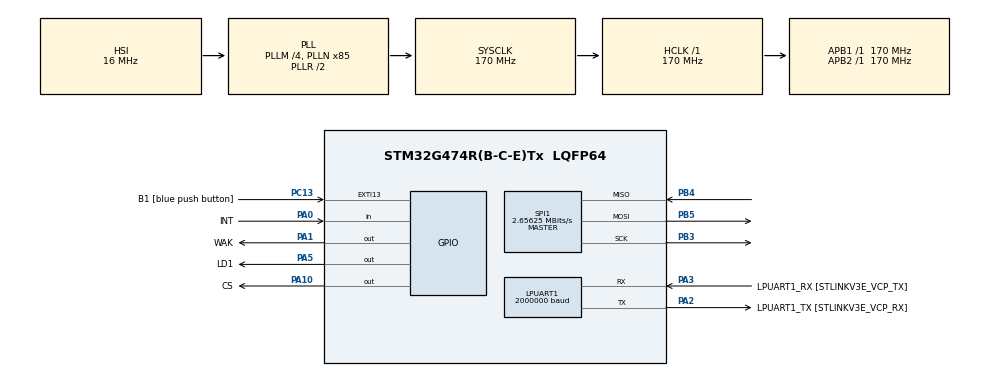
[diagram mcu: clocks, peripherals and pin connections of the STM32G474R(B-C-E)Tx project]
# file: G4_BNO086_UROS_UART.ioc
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Dma.LPUART1_RX.0.Direction=DMA_PERIPH_TO_MEMORY
Dma.LPUART1_RX.0.EventEnable=DISABLE
Dma.LPUART1_RX.0.Instance=DMA1_Channel1
Dma.LPUART1_RX.0.MemDataAlignment=DMA_MDATAALIGN_BYTE
Dma.LPUART1_RX.0.MemInc=DMA_MINC_ENABLE
Dma.LPUART1_RX.0.Mode=DMA_CIRCULAR
Dma.LPUART1_RX.0.PeriphDataAlignment=DMA_PDATAALIGN_BYTE
Dma.LPUART1_RX.0.PeriphInc=DMA_PINC_DISABLE
Dma.LPUART1_RX.0.Polarity=HAL_DMAMUX_REQ_GEN_RISING
Dma.LPUART1_RX.0.Priority=DMA_PRIORITY_VERY_HIGH
Dma.LPUART1_RX.0.RequestNumber=1
Dma.LPUART1_RX.0.SignalID=NONE
Dma.LPUART1_RX.0.SyncEnable=DISABLE
Dma.LPUART1_RX.0.SyncPolarity=HAL_DMAMUX_SYNC_NO_EVENT
Dma.LPUART1_RX.0.SyncRequestNumber=1
Dma.LPUART1_RX.0.SyncSignalID=NONE
Dma.LPUART1_TX.1.Direction=DMA_MEMORY_TO_PERIPH
Dma.LPUART1_TX.1.EventEnable=DISABLE
Dma.LPUART1_TX.1.Instance=DMA1_Channel2
Dma.LPUART1_TX.1.MemDataAlignment=DMA_MDATAALIGN_BYTE
Dma.LPUART1_TX.1.MemInc=DMA_MINC_ENABLE
Dma.LPUART1_TX.1.Mode=DMA_NORMAL
Dma.LPUART1_TX.1.PeriphDataAlignment=DMA_PDATAALIGN_BYTE
Dma.LPUART1_TX.1.PeriphInc=DMA_PINC_DISABLE
Dma.LPUART1_TX.1.Polarity=HAL_DMAMUX_REQ_GEN_RISING
Dma.LPUART1_TX.1.Priority=DMA_PRIORITY_VERY_HIGH
Dma.LPUART1_TX.1.RequestNumber=1
Dma.LPUART1_TX.1.SignalID=NONE
Dma.LPUART1_TX.1.SyncEnable=DISABLE
Dma.LPUART1_TX.1.SyncPolarity=HAL_DMAMUX_SYNC_NO_EVENT
Dma.LPUART1_TX.1.SyncRequestNumber=1
Dma.LPUART1_TX.1.SyncSignalID=NONE
Dma.Request0=LPUART1_RX
Dma.Request1=LPUART1_TX
FREERTOS.Tasks01=defaultTask,24,5000,StartDefaultTask,As weak,NULL,Static,defaultTaskBuffer,defaultTaskControlBlock
FREERTOS.configENABLE_FPU=1
IWDG.Reload=2499
LPUART1.BaudRate=2000000
Mcu.Family=STM32G4
Mcu.Name=STM32G474R(B-C-E)Tx
Mcu.Package=LQFP64
NVIC.DMA1_Channel1_IRQn=true\:5\:0\:false\:false\:true\:true\:false\:true\:true
NVIC.DMA1_Channel2_IRQn=true\:5\:0\:false\:false\:true\:true\:false\:true\:true
NVIC.EXTI15_10_IRQn=true\:5\:0\:false\:false\:true\:true\:true\:true\:true
NVIC.LPUART1_IRQn=true\:5\:0\:false\:false\:true\:true\:true\:true\:true
NVIC.PriorityGroup=NVIC_PRIORITYGROUP_4
NVIC.TIM1_UP_TIM16_IRQn=true\:15\:0\:false\:false\:true\:false\:false\:true\:true
NVIC.TIM2_IRQn=true\:5\:0\:false\:false\:true\:true\:true\:true\:true
NVIC.TimeBase=TIM1_UP_TIM16_IRQn
NVIC.TimeBaseIP=TIM1
PA0.GPIO_Label=INT
PA0.Signal=GPIO_Input
PA1.GPIO_Label=WAK
PA1.GPIO_Speed=GPIO_SPEED_FREQ_VERY_HIGH
PA1.Signal=GPIO_Output
PA10.GPIO_Label=CS
PA10.GPIO_Speed=GPIO_SPEED_FREQ_VERY_HIGH
PA10.Signal=GPIO_Output
PA13.GPIO_Label=T_SWDIO
PA13.Signal=SYS_JTMS-SWDIO
PA14.GPIO_Label=T_SWCLK
PA14.Signal=SYS_JTCK-SWCLK
PA2.GPIO_Label=LPUART1_TX [STLINKV3E_VCP_RX]
PA2.Mode=Asynchronous
PA2.Signal=LPUART1_TX
PA3.GPIO_Label=LPUART1_RX [STLINKV3E_VCP_TX]
PA3.Mode=Asynchronous
PA3.Signal=LPUART1_RX
PA5.GPIO_Label=LD1
PA5.Signal=GPIO_Output
PB3.Mode=Full_Duplex_Master
PB3.Signal=SPI1_SCK
PB4.Mode=Full_Duplex_Master
PB4.Signal=SPI1_MISO
PB5.Mode=Full_Duplex_Master
PB5.Signal=SPI1_MOSI
PC13.GPIO_Label=B1 [blue push button]
PC13.Signal=GPXTI13
PC14-OSC32_IN.Mode=LSE-External-Oscillator
PC14-OSC32_IN.Signal=RCC_OSC32_IN
PC15-OSC32_OUT.GPIO_Label=RCC_OSC32_OUT
PC15-OSC32_OUT.Mode=LSE-External-Oscillator
PC15-OSC32_OUT.Signal=RCC_OSC32_OUT
PF0-OSC_IN.GPIO_Label=RCC_OSC_IN
PF0-OSC_IN.Mode=HSE-External-Oscillator
PF0-OSC_IN.Signal=RCC_OSC_IN
PF1-OSC_OUT.Mode=HSE-External-Oscillator
PF1-OSC_OUT.Signal=RCC_OSC_OUT
ProjectManager.HeapSize=0x200
ProjectManager.StackSize=0x400
ProjectManager.TargetToolchain=STM32CubeIDE
RCC.ADC12Freq_Value=170000000
RCC.ADC345Freq_Value=170000000
RCC.AHBFreq_Value=170000000
RCC.APB1Freq_Value=170000000
RCC.APB1TimFreq_Value=170000000
RCC.APB2Freq_Value=170000000
RCC.APB2TimFreq_Value=170000000
RCC.CortexFreq_Value=170000000
RCC.EXTERNAL_CLOCK_VALUE=12288000
RCC.HCLKFreq_Value=170000000
RCC.HSE_VALUE=24000000
RCC.HSI48_VALUE=48000000
RCC.HSI_VALUE=16000000
RCC.PLLM=RCC_PLLM_DIV4
RCC.PLLN=85
RCC.RTCClockSelection=RCC_RTCCLKSOURCE_LSE
RCC.SYSCLKFreq_VALUE=170000000
RCC.SYSCLKSource=RCC_SYSCLKSOURCE_PLLCLK
RCC.USBFreq_Value=170000000
RCC.VCOOutputFreq_Value=340000000
SPI1.BaudRatePrescaler=SPI_BAUDRATEPRESCALER_64
SPI1.CLKPhase=SPI_PHASE_2EDGE
SPI1.CLKPolarity=SPI_POLARITY_HIGH
SPI1.CalculateBaudRate=2.65625 MBits/s
SPI1.DataSize=SPI_DATASIZE_8BIT
SPI1.Direction=SPI_DIRECTION_2LINES
SPI1.Mode=SPI_MODE_MASTER
SPI1.VirtualType=VM_MASTER
TIM2.PeriodNoDither=999
TIM2.Prescaler=169
TIM2.TIM_MasterOutputTrigger=TIM_TRGO_UPDATE
VP_FREERTOS_VS_CMSIS_V2.Mode=CMSIS_V2
VP_IWDG_VS_IWDG.Mode=IWDG_Activate
VP_SYS_VS_DBSignals.Mode=DisableDeadBatterySignals
VP_SYS_VS_tim1.Mode=TIM1
VP_TIM2_VS_ClockSourceINT.Mode=Internal
board=NUCLEO-G474RE

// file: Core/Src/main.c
/* USER CODE BEGIN Header */
/**
  ******************************************************************************
  * @file           : main.c
  * @brief          : Main program body
  ******************************************************************************
  * @attention
  *
  * Copyright (c) 2025 STMicroelectronics.
  * All rights reserved.
  *
  * This software is licensed under terms that can be found in the LICENSE file
  * in the root directory of this software component.
  * If no LICENSE file comes with this software, it is provided AS-IS.
  *
  ******************************************************************************
  */
/* USER CODE END Header */
#include "main.h"
#include "cmsis_os.h"
#include "dma.h"
#include "iwdg.h"
#include "usart.h"
#include "spi.h"
#include "tim.h"
#include "gpio.h"

/* USER CODE BEGIN Includes */
#include <rcl/rcl.h>
#include <rcl/error_handling.h>
#include <rclc/rclc.h>
#include <rclc/executor.h>
#include <uxr/client/transport.h>
#include <rmw_microxrcedds_c/config.h>
#include <rmw_microros/rmw_microros.h>
#include <std_msgs/msg/float64_multi_array.h>

#include "BNO086_SPI.h"
/* USER CODE END Includes */

/* USER CODE BEGIN PD */
#define RCCHECK(fn) if(fn != RCL_RET_OK) {};
#define HALCHECK(fn) while(fn != HAL_OK) HAL_Delay(100);
/* USER CODE END PD */

/* USER CODE BEGIN PV */
rclc_support_t support;
rcl_allocator_t allocator;
rcl_node_t node;
rcl_init_options_t init_options;
rcl_timer_t timer_;
rclc_executor_t executor;

rcl_publisher_t f64array_pub;
double f64array_data[16];
std_msgs__msg__Float64MultiArray f64array_msg = {
    .data = { .data = f64array_data, .capacity = 16, .size = 16 }
};

uint32_t sync = 0;

BNO086_t IMU_086_FRTOS;
CalibrateStatus CALIBRATE;
/* USER CODE END PV */

void SystemClock_Config(void);
void MX_FREERTOS_Init(void);
/* USER CODE BEGIN PFP */
bool cubemx_transport_open(struct uxrCustomTransport * transport);
bool cubemx_transport_close(struct uxrCustomTransport * transport);
size_t cubemx_transport_write(struct uxrCustomTransport* transport, const uint8_t * buf, size_t len, uint8_t * err);
size_t cubemx_transport_read(struct uxrCustomTransport* transport, uint8_t* buf, size_t len, int timeout, uint8_t* err);

void * microros_allocate(size_t size, void * state);
void microros_deallocate(void * pointer, void * state);
void * microros_reallocate(void * pointer, size_t size, void * state);
void * microros_zero_allocate(size_t number_of_elements, size_t size_of_element, void * state);

void SensorsPublished();
/* USER CODE END PFP */

int main(void)
{

  /* MCU Configuration--------------------------------------------------------*/

  /* Reset of all peripherals, Initializes the Flash interface and the Systick. */
  HAL_Init();

  /* Configure the system clock */
  SystemClock_Config();

  /* Initialize all configured peripherals */
  MX_GPIO_Init();
  MX_DMA_Init();
  MX_LPUART1_UART_Init();
  MX_IWDG_Init();
  MX_SPI1_Init();
  MX_TIM2_Init();
  /* USER CODE BEGIN 2 */
  //  	BNO086_Calibration(&BNO086, &CALIBRATE);
  	BNO086_Initialization(&IMU_086_FRTOS);
  	BNO086_enableRotationVector(2500); //enable rotation vector at 400Hz (2500 microsecs)
  	//	  BNO086_enableGameRotationVector(11111); //enable Gaming Rotation vector at 90Hz (2500 microsecs)

  	BNO086_enableAccelerometer(2000); //enable Accelerometer at 400Hz (2500 microsecs)
  	BNO086_enableLinearAccelerometer(2500); //enable Linear Accelerometer at 400Hz (2500 microsecs)
  	BNO086_enableGyro(2500); //enable Gyrometer  at 400Hz (2500 microsecs)
  	BNO086_enableMagnetometer(10000); //enable Magnetometer at 100Hz (10000 microsecs)

  	 HAL_TIM_Base_Start_IT(&htim2);
  /* USER CODE END 2 */

  /* Init scheduler */
  osKernelInitialize();

  /* Call init function for freertos objects (in cmsis_os2.c) */
  MX_FREERTOS_Init();

  /* Start scheduler */
  osKernelStart();

  /* We should never get here as control is now taken by the scheduler */

  /* Infinite loop */
  while (1)
  {

  }
}

void SystemClock_Config(void)
{
  RCC_OscInitTypeDef RCC_OscInitStruct = {0};
  RCC_ClkInitTypeDef RCC_ClkInitStruct = {0};

  /** Configure the main internal regulator output voltage
  */
  HAL_PWREx_ControlVoltageScaling(PWR_REGULATOR_VOLTAGE_SCALE1_BOOST);

  /** Initializes the RCC Oscillators according to the specified parameters
  * in the RCC_OscInitTypeDef structure.
  */
  RCC_OscInitStruct.OscillatorType = RCC_OSCILLATORTYPE_HSI|RCC_OSCILLATORTYPE_LSI;
  RCC_OscInitStruct.HSIState = RCC_HSI_ON;
  RCC_OscInitStruct.HSICalibrationValue = RCC_HSICALIBRATION_DEFAULT;
  RCC_OscInitStruct.LSIState = RCC_LSI_ON;
  RCC_OscInitStruct.PLL.PLLState = RCC_PLL_ON;
  RCC_OscInitStruct.PLL.PLLSource = RCC_PLLSOURCE_HSI;
  RCC_OscInitStruct.PLL.PLLM = RCC_PLLM_DIV4;
  RCC_OscInitStruct.PLL.PLLN = 85;
  RCC_OscInitStruct.PLL.PLLP = RCC_PLLP_DIV2;
  RCC_OscInitStruct.PLL.PLLQ = RCC_PLLQ_DIV2;
  RCC_OscInitStruct.PLL.PLLR = RCC_PLLR_DIV2;
  if (HAL_RCC_OscConfig(&RCC_OscInitStruct) != HAL_OK)
  {
    Error_Handler();
  }

  /** Initializes the CPU, AHB and APB buses clocks
  */
  RCC_ClkInitStruct.ClockType = RCC_CLOCKTYPE_HCLK|RCC_CLOCKTYPE_SYSCLK
                              |RCC_CLOCKTYPE_PCLK1|RCC_CLOCKTYPE_PCLK2;
  RCC_ClkInitStruct.SYSCLKSource = RCC_SYSCLKSOURCE_PLLCLK;
  RCC_ClkInitStruct.AHBCLKDivider = RCC_SYSCLK_DIV1;
  RCC_ClkInitStruct.APB1CLKDivider = RCC_HCLK_DIV1;
  RCC_ClkInitStruct.APB2CLKDivider = RCC_HCLK_DIV1;

  if (HAL_RCC_ClockConfig(&RCC_ClkInitStruct, FLASH_LATENCY_4) != HAL_OK)
  {
    Error_Handler();
  }
}

/* USER CODE BEGIN 4 */
void timer_callback(rcl_timer_t * timer, int64_t last_call_time)
{
	if (timer != NULL) {

		if (sync++ >= 255) {  // Sync session at lower frequency
			rmw_uros_sync_session(1000);
			sync = 0;
		}

		SensorsPublished();
		HAL_IWDG_Refresh(&hiwdg);
	}

}

void SensorsPublished(){

	// IMU_086 acceleration
	f64array_msg.data.data[0] = IMU_086_FRTOS.acceleration.x;
	f64array_msg.data.data[1] = IMU_086_FRTOS.acceleration.y;
	f64array_msg.data.data[2] = IMU_086_FRTOS.acceleration.z;

	// IMU_086 linear acceleration
	f64array_msg.data.data[3] = IMU_086_FRTOS.linear_acceleration.x;
	f64array_msg.data.data[4] = IMU_086_FRTOS.linear_acceleration.y;
	f64array_msg.data.data[5] = IMU_086_FRTOS.linear_acceleration.z;

	// IMU_086 angular velocity
	f64array_msg.data.data[6] = IMU_086_FRTOS.angular_velocity.x;
	f64array_msg.data.data[7] = IMU_086_FRTOS.angular_velocity.y;
	f64array_msg.data.data[8] = IMU_086_FRTOS.angular_velocity.z;

	// IMU_086 magnetometer
	f64array_msg.data.data[9] = IMU_086_FRTOS.magnetometer.x;
	f64array_msg.data.data[10] = IMU_086_FRTOS.magnetometer.y;
	f64array_msg.data.data[11] = IMU_086_FRTOS.magnetometer.z;

	//IMU_086 quaternion
	f64array_msg.data.data[12] = IMU_086_FRTOS.quaternion.i;
	f64array_msg.data.data[13] = IMU_086_FRTOS.quaternion.j;
	f64array_msg.data.data[14] = IMU_086_FRTOS.quaternion.k;
	f64array_msg.data.data[15] = IMU_086_FRTOS.quaternion.w;

    RCCHECK(rcl_publish(&f64array_pub, &f64array_msg, NULL));

}
void StartDefaultTask(void *argument)
{
  /* USER CODE BEGIN 5 */

  // micro-ROS configuration

  rmw_uros_set_custom_transport(
    true,
    (void *) &hlpuart1,
    cubemx_transport_open,
    cubemx_transport_close,
    cubemx_transport_write,
    cubemx_transport_read);

  rcl_allocator_t freeRTOS_allocator = rcutils_get_zero_initialized_allocator();
  freeRTOS_allocator.allocate = microros_allocate;
  freeRTOS_allocator.deallocate = microros_deallocate;
  freeRTOS_allocator.reallocate = microros_reallocate;
  freeRTOS_allocator.zero_allocate =  microros_zero_allocate;

  if (!rcutils_set_default_allocator(&freeRTOS_allocator)) {
      printf("Error on default allocators (line %d)\n", __LINE__);
  }

  allocator = rcl_get_default_allocator();

  //create init_options
  init_options = rcl_get_zero_initialized_init_options();
  RCCHECK(rcl_init_options_init(&init_options, allocator));
  RCCHECK(rcl_init_options_set_domain_id(&init_options, 198));

//  rclc_support_init(&support, 0, NULL, &allocator);
  rclc_support_init_with_options(&support, 0, NULL, &init_options, &allocator);

  // create node
  rclc_node_init_default(&node, "bno_086_node", "", &support);

  rclc_publisher_init_best_effort(&f64array_pub,
  		  &node,
  	ROSIDL_GET_MSG_TYPE_SUPPORT(std_msgs, msg, Float64MultiArray),
  	"bno086_cubemx");

	// Synchronize time with the agent (t check the connectivity of micro_ros_agent)

  // create executor
  executor = rclc_executor_get_zero_initialized_executor();

  // create timer
  rclc_timer_init_default(&timer_, &support, RCL_MS_TO_NS(9.9), timer_callback);

  rclc_executor_init(&executor, &support.context, 1, &allocator);
  rclc_executor_add_timer(&executor, &timer_); // add timer
  rclc_executor_spin(&executor);

  /* USER CODE END 5 */
}
/* USER CODE END 4 */

void HAL_TIM_PeriodElapsedCallback(TIM_HandleTypeDef *htim)
{
  if (htim->Instance == TIM1) {
    HAL_IncTick();
  }
  /* USER CODE BEGIN Callback 1 */
  if(htim == &htim2){
	if(BNO086_dataAvailable() == 1){
		BNO086_getData(&IMU_086_FRTOS, UNIT_RAD);
	}
  }
  /* USER CODE END Callback 1 */
}

void Error_Handler(void)
{
  __disable_irq();
  while (1)
  {
  }
}

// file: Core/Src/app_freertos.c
/* USER CODE BEGIN Header */
/**
  ******************************************************************************
  * File Name          : app_freertos.c
  * Description        : Code for freertos applications
  ******************************************************************************
  * @attention
  *
  * Copyright (c) 2025 STMicroelectronics.
  * All rights reserved.
  *
  * This software is licensed under terms that can be found in the LICENSE file
  * in the root directory of this software component.
  * If no LICENSE file comes with this software, it is provided AS-IS.
  *
  ******************************************************************************
  */
/* USER CODE END Header */

#include "FreeRTOS.h"
#include "task.h"
#include "main.h"
#include "cmsis_os.h"

typedef StaticTask_t osStaticThreadDef_t;

/* Definitions for defaultTask */
osThreadId_t defaultTaskHandle;
uint32_t defaultTaskBuffer[ 5000 ];
osStaticThreadDef_t defaultTaskControlBlock;
const osThreadAttr_t defaultTask_attributes = {
  .name = "defaultTask",
  .stack_mem = &defaultTaskBuffer[0],
  .stack_size = sizeof(defaultTaskBuffer),
  .cb_mem = &defaultTaskControlBlock,
  .cb_size = sizeof(defaultTaskControlBlock),
  .priority = (osPriority_t) osPriorityNormal,
};

void StartDefaultTask(void *argument);

void MX_FREERTOS_Init(void); /* (MISRA C 2004 rule 8.1) */

void MX_FREERTOS_Init(void) {

  /* Create the thread(s) */
  /* creation of defaultTask */
  defaultTaskHandle = osThreadNew(StartDefaultTask, NULL, &defaultTask_attributes);

}

__weak void StartDefaultTask(void *argument)
{
  for(;;)
  {
    osDelay(1);
  }
}
